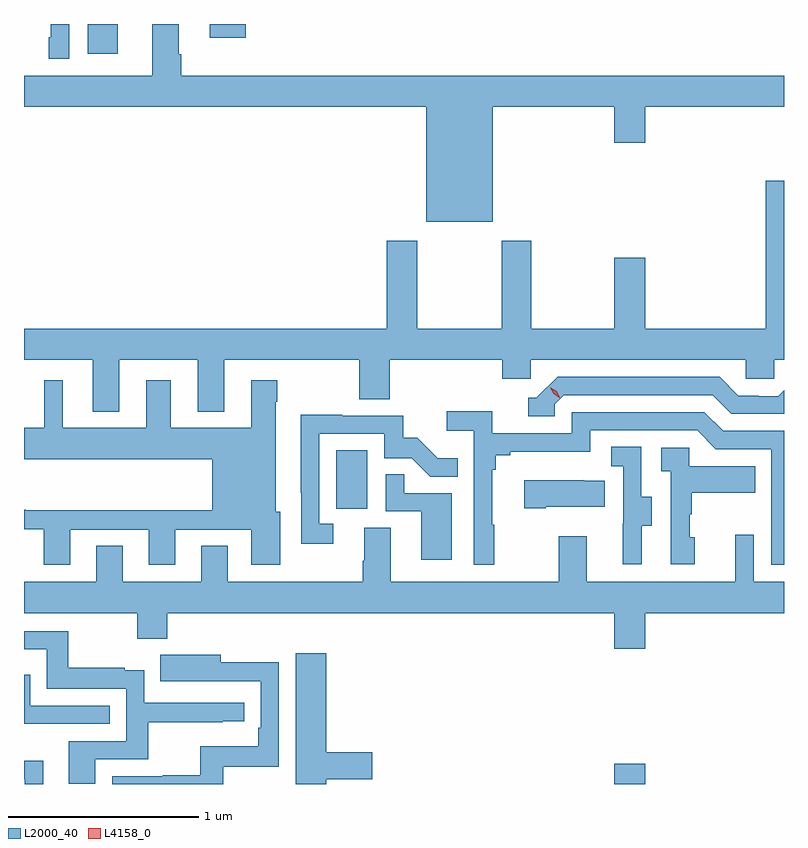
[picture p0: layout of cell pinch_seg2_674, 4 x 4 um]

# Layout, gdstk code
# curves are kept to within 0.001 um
import gdstk
lib = gdstk.Library(unit=1e-6, precision=1e-09)
def R(c, l, rs):  # rectangles x0, y0, x1, y1
    for r in rs: c.add(gdstk.rectangle(r[:2], r[2:], *l))
def P(c, l, *ps):  # polygons
    for p in ps: c.add(gdstk.Polygon(p, *l))
L2000_40 = (2000, 40)
L4158_0 = (4158, 0)

pinch_seg2_674 = lib.new_cell('pinch_seg2_674')
R(pinch_seg2_674, L2000_40, [(1124.048,600.116,1124.212,600.223), (1122.584,601.566,1122.748,601.873), (1121.276,603.96,1121.434,604.116), (1121.919,604.044,1122.107,604.116)])
P(pinch_seg2_674, L2000_40, [(1123.408,603.68),(1124.048,603.68),(1124.048,603.492),(1124.212,603.492),(1124.212,603.68),(1124.941,603.68),(1124.941,603.844),(1121.768,603.844),(1121.768,603.956),(1121.755,603.956),(1121.755,604.116),(1121.615,604.116),(1121.615,603.844),(1120.941,603.844),(1120.941,603.68),(1123.058,603.68),(1123.058,603.074),(1123.408,603.074)],
  [(1121.178,604.116),(1121.082,604.116),(1121.082,604.045),(1121.07,604.045),(1121.07,603.933),(1121.178,603.933)],
  [(1123.457,602.25),(1123.608,602.25),(1123.608,602.348),(1124.739,602.348),(1124.739,602.25),(1124.889,602.25),(1124.889,602.348),(1124.941,602.348),(1124.941,603.292),(1124.846,603.292),(1124.846,602.512),(1124.212,602.512),(1124.212,602.887),(1124.048,602.887),(1124.048,602.512),(1123.611,602.512),(1123.611,602.974),(1123.456,602.974),(1123.456,602.512),(1123.011,602.512),(1123.011,602.974),(1122.851,602.974),(1122.851,602.512),(1120.941,602.512),(1120.941,602.348),(1121.303,602.348),(1121.303,602.075),(1121.443,602.075),(1121.443,602.348),(1121.855,602.348),(1121.855,602.075),(1121.995,602.075),(1121.995,602.348),(1122.706,602.348),(1122.706,602.14),(1122.866,602.14),(1122.866,602.348),(1123.457,602.348)],
  [(1123.734,602.115),(1123.782,602.163),(1124.565,602.163),(1124.664,602.064),(1124.941,602.064),(1124.941,602.188),(1124.911,602.157),(1124.808,602.157),(1124.808,602.16),(1124.701,602.16),(1124.602,602.259),(1123.749,602.259),(1123.638,602.148),(1123.595,602.148),(1123.595,602.052),(1123.734,602.052)],
  [(1121.185,601.455),(1121.597,601.455),(1121.597,601.269),(1121.737,601.269),(1121.737,601.455),(1122.137,601.455),(1122.137,601.269),(1122.289,601.269),(1122.289,601.548),(1122.265,601.548),(1122.265,602.129),(1122.273,602.129),(1122.273,602.242),(1122.137,602.242),(1122.137,601.99),(1121.713,601.99),(1121.713,602.242),(1121.585,602.242),(1121.585,601.99),(1121.146,601.99),(1121.146,602.242),(1121.048,602.242),(1121.048,601.99),(1120.941,601.99),(1120.941,601.826),(1121.933,601.826),(1121.933,601.556),(1120.949,601.556),(1120.949,601.559),(1120.941,601.559),(1120.941,601.458),(1121.045,601.458),(1121.045,601.269),(1121.185,601.269)],
  [(1123.417,601.481),(1123.405,601.481),(1123.405,601.769),(1123.424,601.769),(1123.424,601.846),(1123.501,601.846),(1123.501,601.865),(1123.92,601.865),(1123.92,601.977),(1124.484,601.977),(1124.583,601.878),(1124.874,601.878),(1124.874,601.269),(1124.941,601.269),(1124.941,601.974),(1124.62,601.974),(1124.521,602.073),(1123.824,602.073),(1123.824,601.962),(1123.406,601.962),(1123.406,602.078),(1123.167,602.078),(1123.167,601.976),(1123.308,601.976),(1123.308,601.269),(1123.417,601.269)],
  [(1122.568,601.485),(1122.495,601.485),(1122.495,601.959),(1122.837,601.959),(1122.837,601.83),(1122.982,601.83),(1123.08,601.732),(1123.223,601.732),(1123.223,601.831),(1123.119,601.831),(1123.012,601.938),(1122.936,601.938),(1122.936,602.055),(1122.617,602.055),(1122.617,602.06),(1122.398,602.06),(1122.399,601.38),(1122.568,601.38)],
  [(1124.191,601.474),(1124.245,601.474),(1124.245,601.629),(1124.19,601.629),(1124.19,601.892),(1124.031,601.892),(1124.031,601.789),(1124.094,601.789),(1124.094,601.485),(1124.093,601.485),(1124.093,601.272),(1124.191,601.272)],
  [(1124.47,601.416),(1124.445,601.416),(1124.445,601.535),(1124.455,601.535),(1124.455,601.649),(1124.789,601.649),(1124.789,601.789),(1124.442,601.789),(1124.442,601.887),(1124.295,601.887),(1124.295,601.763),(1124.346,601.763),(1124.346,601.272),(1124.47,601.272)],
  [(1123.192,601.647),(1122.941,601.647),(1122.941,601.745),(1122.846,601.745),(1122.846,601.551),(1123.031,601.551),(1123.031,601.296),(1123.192,601.296)],
  [(1123.687,601.574),(1123.997,601.574),(1123.997,601.711),(1123.889,601.711),(1123.889,601.714),(1123.575,601.714),(1123.575,601.567),(1123.687,601.567)],
  [(1124.212,601.016),(1124.941,601.016),(1124.941,601.18),(1124.781,601.18),(1124.781,601.429),(1124.684,601.429),(1124.684,601.18),(1123.903,601.18),(1123.903,601.42),(1123.756,601.42),(1123.756,601.18),(1122.871,601.18),(1122.871,601.466),(1122.731,601.466),(1122.731,601.292),(1122.724,601.292),(1122.724,601.18),(1122.013,601.18),(1122.013,601.37),(1121.873,601.37),(1121.873,601.18),(1121.461,601.18),(1121.461,601.37),(1121.321,601.37),(1121.321,601.18),(1120.941,601.18),(1120.941,601.016),(1121.536,601.016),(1121.536,600.881),(1121.696,600.881),(1121.696,601.016),(1124.048,601.016),(1124.048,600.828),(1124.212,600.828)],
  [(1121.317,600.246),(1121.594,600.246),(1121.594,600.442),(1121.987,600.442),(1121.987,600.447),(1122.1,600.447),(1122.1,600.543),(1121.574,600.543),(1121.574,600.715),(1121.471,600.715),(1121.471,600.727),(1121.173,600.727),(1121.173,600.921),(1120.941,600.921),(1120.941,600.824),(1121.062,600.824),(1121.062,600.618),(1121.478,600.618),(1121.478,600.342),(1121.177,600.342),(1121.177,600.118),(1121.317,600.118)],
  [(1122.532,600.142),(1122.775,600.142),(1122.775,600.284),(1122.532,600.284),(1122.532,600.805),(1122.371,600.805),(1122.371,600.116),(1122.532,600.116)],
  [(1121.989,600.207),(1122.282,600.207),(1122.282,600.758),(1121.977,600.758),(1121.977,600.796),(1121.659,600.796),(1121.659,600.656),(1121.873,600.656),(1121.873,600.657),(1122.186,600.657),(1122.186,600.412),(1122.173,600.412),(1122.173,600.316),(1121.868,600.316),(1121.868,600.161),(1121.671,600.161),(1121.671,600.156),(1121.406,600.156),(1121.406,600.116),(1121.989,600.116)],
  [(1121.393,600.528),(1120.974,600.528),(1120.974,600.691),(1120.941,600.691),(1120.941,600.432),(1121.393,600.432)],
  [(1121.041,600.239),(1120.941,600.239),(1120.941,600.141),(1120.944,600.141),(1120.944,600.116),(1121.041,600.116)])
P(pinch_seg2_674, L4158_0, [(1123.759,602.15),(1123.729,602.17),(1123.712,602.202),(1123.712,602.202),(1123.713,602.202),(1123.744,602.183),(1123.76,602.151),(1123.76,602.15)])

lib.write_gds('pinch_seg2_674.gds')
